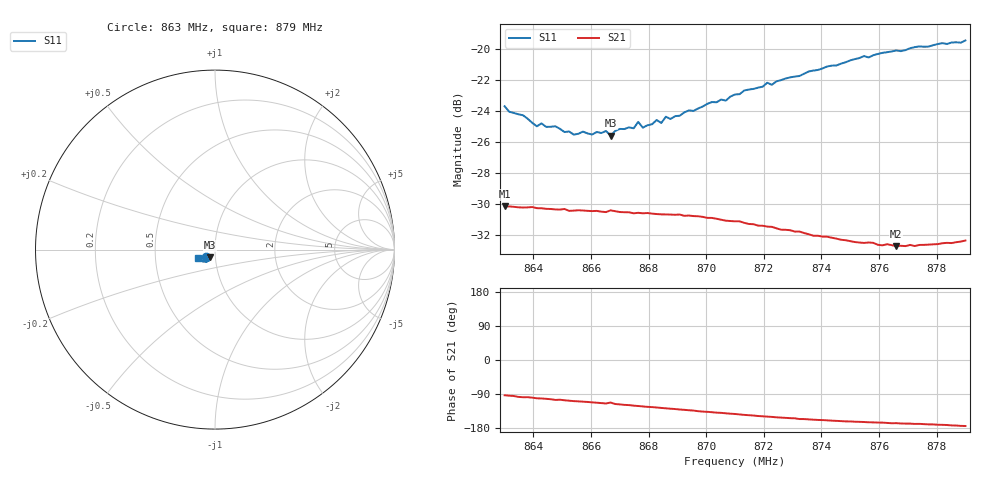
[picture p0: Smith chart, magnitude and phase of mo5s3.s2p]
# HZ S RI R 50
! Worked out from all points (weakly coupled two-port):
!   101 points, 863 MHz to 879 MHz, reference 50 ohm
!   highest |S21| = -30.13 dB at 863 MHz (marker M1); lowest = -32.7 dB at 876.6 MHz (marker M2)
!   lowest |S11| = -25.6 dB at 866.68 MHz (marker M3), VSWR 1.11, Z = 47 - j4.12 ohm
!   |S11| at or under -10 dB: start of sweep to end of sweep
!   S12 and S22 are empty: the file has one direction only
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8.63e8  -0.0517 -0.0402  -0.00166 -0.0311  0 0  0 0
8.6412e8  -0.0421 -0.0375  -0.00591 -0.0302  0 0  0 0
8.6428e8  -0.0425 -0.039  -0.00611 -0.0301  0 0  0 0
8.6476e8  -0.0413 -0.0385  -0.00807 -0.0294  0 0  0 0
8.654e8  -0.0359 -0.039  -0.00956 -0.0286  0 0  0 0
8.6572e8  -0.0345 -0.0418  -0.0103 -0.0284  0 0  0 0
8.6604e8  -0.0332 -0.0414  -0.0112 -0.0279  0 0  0 0
8.6652e8  -0.0324 -0.0438  -0.0125 -0.0271  0 0  0 0
8.6668e8  -0.0293 -0.0437  -0.0114 -0.028  0 0  0 0
8.67e8  -0.0328 -0.0445  -0.0136 -0.0266  0 0  0 0
8.6748e8  -0.0308 -0.0463  -0.015 -0.0255  0 0  0 0
8.6764e8  -0.0319 -0.0488  -0.0155 -0.0253  0 0  0 0
8.678e8  -0.0305 -0.0468  -0.0159 -0.0249  0 0  0 0
8.6828e8  -0.0299 -0.051  -0.017 -0.024  0 0  0 0
8.6844e8  -0.0296 -0.0497  -0.0175 -0.0236  0 0  0 0
8.686e8  -0.0306 -0.0523  -0.0179 -0.0233  0 0  0 0
8.6876e8  -0.0296 -0.0516  -0.0183 -0.0229  0 0  0 0
8.71e8  -0.0364 -0.0615  -0.0221 -0.017  0 0  0 0
8.7372e8  -0.0521 -0.0676  -0.0231 -0.00958  0 0  0 0
8.7644e8  -0.0763 -0.062  -0.0227 -0.00531  0 0  0 0
8.766e8  -0.0776 -0.0615  -0.0226 -0.00534  0 0  0 0
8.79e8  -0.097 -0.0444  -0.024 -0.00246  0 0  0 0
